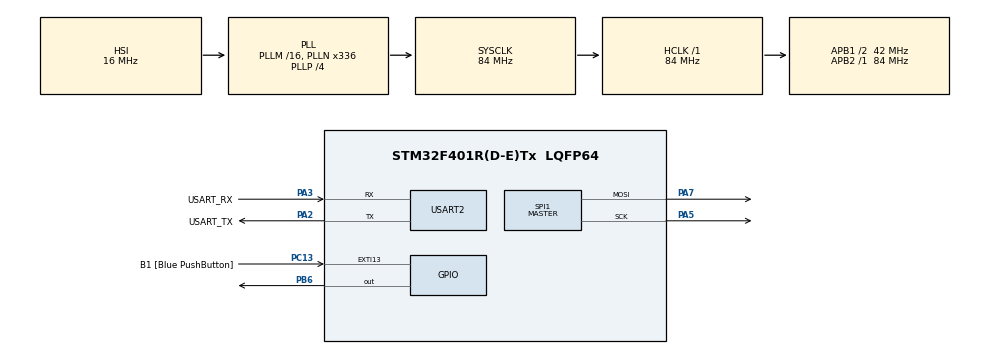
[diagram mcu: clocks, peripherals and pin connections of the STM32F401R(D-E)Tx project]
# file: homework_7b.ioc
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Dma.Request0=SPI1_TX
Dma.SPI1_TX.0.Direction=DMA_MEMORY_TO_PERIPH
Dma.SPI1_TX.0.FIFOMode=DMA_FIFOMODE_DISABLE
Dma.SPI1_TX.0.Instance=DMA2_Stream3
Dma.SPI1_TX.0.MemDataAlignment=DMA_MDATAALIGN_BYTE
Dma.SPI1_TX.0.MemInc=DMA_MINC_ENABLE
Dma.SPI1_TX.0.Mode=DMA_NORMAL
Dma.SPI1_TX.0.PeriphDataAlignment=DMA_PDATAALIGN_BYTE
Dma.SPI1_TX.0.PeriphInc=DMA_PINC_DISABLE
Dma.SPI1_TX.0.Priority=DMA_PRIORITY_LOW
Mcu.Family=STM32F4
Mcu.Name=STM32F401R(D-E)Tx
Mcu.Package=LQFP64
NVIC.DMA2_Stream3_IRQn=true\:0\:0\:false\:false\:true\:false\:true\:true
NVIC.PriorityGroup=NVIC_PRIORITYGROUP_0
NVIC.TIM2_IRQn=true\:0\:0\:false\:false\:true\:true\:true\:true
PA13.GPIO_Label=TMS
PA13.Mode=Serial_Wire
PA13.Signal=SYS_JTMS-SWDIO
PA14.GPIO_Label=TCK
PA14.Mode=Serial_Wire
PA14.Signal=SYS_JTCK-SWCLK
PA2.GPIO_Label=USART_TX
PA2.GPIO_Mode=GPIO_MODE_AF_PP
PA2.GPIO_PuPd=GPIO_NOPULL
PA2.GPIO_Speed=GPIO_SPEED_FREQ_LOW
PA2.Mode=Asynchronous
PA2.Signal=USART2_TX
PA3.GPIO_Label=USART_RX
PA3.GPIO_Mode=GPIO_MODE_AF_PP
PA3.GPIO_PuPd=GPIO_NOPULL
PA3.GPIO_Speed=GPIO_SPEED_FREQ_LOW
PA3.Mode=Asynchronous
PA3.Signal=USART2_RX
PA5.Mode=TX_Only_Simplex_Unidirect_Master
PA5.Signal=SPI1_SCK
PA7.Mode=TX_Only_Simplex_Unidirect_Master
PA7.Signal=SPI1_MOSI
PB3.GPIO_Label=SWO
PB3.Signal=SYS_JTDO-SWO
PB6.Signal=GPIO_Output
PC13-ANTI_TAMP.GPIO_Label=B1 [Blue PushButton]
PC13-ANTI_TAMP.GPIO_ModeDefaultEXTI=GPIO_MODE_IT_FALLING
PC13-ANTI_TAMP.GPIO_PuPd=GPIO_NOPULL
PC13-ANTI_TAMP.Signal=GPXTI13
PC14-OSC32_IN.Mode=LSE-External-Oscillator
PC14-OSC32_IN.Signal=RCC_OSC32_IN
PC15-OSC32_OUT.Mode=LSE-External-Oscillator
PC15-OSC32_OUT.Signal=RCC_OSC32_OUT
PH0\ -\ OSC_IN.Mode=HSE-External-Clock-Source
PH0\ -\ OSC_IN.Signal=RCC_OSC_IN
PH1\ -\ OSC_OUT.Mode=HSE-External-Clock-Source
PH1\ -\ OSC_OUT.Signal=RCC_OSC_OUT
ProjectManager.HeapSize=0x200
ProjectManager.StackSize=0x400
ProjectManager.TargetToolchain=STM32CubeIDE
RCC.48MHZClocksFreq_Value=48000000
RCC.AHBFreq_Value=84000000
RCC.APB1CLKDivider=RCC_HCLK_DIV2
RCC.APB1Freq_Value=42000000
RCC.APB1TimFreq_Value=84000000
RCC.APB2Freq_Value=84000000
RCC.APB2TimFreq_Value=84000000
RCC.CortexFreq_Value=84000000
RCC.HCLKFreq_Value=84000000
RCC.HSE_VALUE=8000000
RCC.HSI_VALUE=16000000
RCC.PLLN=336
RCC.PLLP=RCC_PLLP_DIV4
RCC.PLLQ=7
RCC.SYSCLKFreq_VALUE=84000000
RCC.SYSCLKSource=RCC_SYSCLKSOURCE_PLLCLK
RCC.VCOOutputFreq_Value=336000000
SPI1.BaudRatePrescaler=SPI_BAUDRATEPRESCALER_4
SPI1.Direction=SPI_DIRECTION_2LINES
SPI1.Mode=SPI_MODE_MASTER
SPI1.VirtualType=VM_MASTER
TIM2.Period=39
TIM2.Prescaler=8399
USART2.VirtualMode=VM_ASYNC
VP_TIM2_VS_ClockSourceINT.Mode=Internal
board=NUCLEO-F401RE

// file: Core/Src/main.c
/* USER CODE BEGIN Header */
/**
  ******************************************************************************
  * @file           : main.c
  * @brief          : Main program body
  ******************************************************************************
  * @attention
  *
  * Copyright (c) 2023 STMicroelectronics.
  * All rights reserved.
  *
  * This software is licensed under terms that can be found in the LICENSE file
  * in the root directory of this software component.
  * If no LICENSE file comes with this software, it is provided AS-IS.
  *
  ******************************************************************************
  */
/* USER CODE END Header */
#include "main.h"

SPI_HandleTypeDef hspi1;
DMA_HandleTypeDef hdma_spi1_tx;

TIM_HandleTypeDef htim2;

UART_HandleTypeDef huart2;

/* USER CODE BEGIN PV */
int column_index = 0;
int switch_flag = 0;
int switch_val = 250; //250*4ms = 1s, so every one second we will switch letter
int switch_counter = 0; //when it becomes equal to switch_val we switch letter

uint8_t matrixA[5][2]= {
		{31, 16},
		{36, 8},
		{68, 4},
		{36, 2},
		{31, 1}
	};

uint8_t matrixB[5][2]= {
		{127, 16},
		{81, 8},
		{81, 4},
		{81, 2},
		{46, 1}
	};
/* USER CODE END PV */

void SystemClock_Config(void);
static void MX_GPIO_Init(void);
static void MX_DMA_Init(void);
static void MX_USART2_UART_Init(void);
static void MX_SPI1_Init(void);
static void MX_TIM2_Init(void);

int main(void)
{

  /* MCU Configuration--------------------------------------------------------*/

  /* Reset of all peripherals, Initializes the Flash interface and the Systick. */
  HAL_Init();

  /* Configure the system clock */
  SystemClock_Config();

  /* Initialize all configured peripherals */
  MX_GPIO_Init();
  MX_DMA_Init();
  MX_USART2_UART_Init();
  MX_SPI1_Init();
  MX_TIM2_Init();
  /* USER CODE BEGIN 2 */
  HAL_TIM_Base_Start_IT(&htim2);
  /* USER CODE END 2 */

  /* Infinite loop */
  while (1)
  {

  }
}

void SystemClock_Config(void)
{
  RCC_OscInitTypeDef RCC_OscInitStruct = {0};
  RCC_ClkInitTypeDef RCC_ClkInitStruct = {0};

  /** Configure the main internal regulator output voltage
  */
  __HAL_RCC_PWR_CLK_ENABLE();
  __HAL_PWR_VOLTAGESCALING_CONFIG(PWR_REGULATOR_VOLTAGE_SCALE2);

  /** Initializes the RCC Oscillators according to the specified parameters
  * in the RCC_OscInitTypeDef structure.
  */
  RCC_OscInitStruct.OscillatorType = RCC_OSCILLATORTYPE_HSI;
  RCC_OscInitStruct.HSIState = RCC_HSI_ON;
  RCC_OscInitStruct.HSICalibrationValue = RCC_HSICALIBRATION_DEFAULT;
  RCC_OscInitStruct.PLL.PLLState = RCC_PLL_ON;
  RCC_OscInitStruct.PLL.PLLSource = RCC_PLLSOURCE_HSI;
  RCC_OscInitStruct.PLL.PLLM = 16;
  RCC_OscInitStruct.PLL.PLLN = 336;
  RCC_OscInitStruct.PLL.PLLP = RCC_PLLP_DIV4;
  RCC_OscInitStruct.PLL.PLLQ = 7;
  if (HAL_RCC_OscConfig(&RCC_OscInitStruct) != HAL_OK)
  {
    Error_Handler();
  }

  /** Initializes the CPU, AHB and APB buses clocks
  */
  RCC_ClkInitStruct.ClockType = RCC_CLOCKTYPE_HCLK|RCC_CLOCKTYPE_SYSCLK
                              |RCC_CLOCKTYPE_PCLK1|RCC_CLOCKTYPE_PCLK2;
  RCC_ClkInitStruct.SYSCLKSource = RCC_SYSCLKSOURCE_PLLCLK;
  RCC_ClkInitStruct.AHBCLKDivider = RCC_SYSCLK_DIV1;
  RCC_ClkInitStruct.APB1CLKDivider = RCC_HCLK_DIV2;
  RCC_ClkInitStruct.APB2CLKDivider = RCC_HCLK_DIV1;

  if (HAL_RCC_ClockConfig(&RCC_ClkInitStruct, FLASH_LATENCY_2) != HAL_OK)
  {
    Error_Handler();
  }
}

static void MX_SPI1_Init(void)
{

  /* SPI1 parameter configuration*/
  hspi1.Instance = SPI1;
  hspi1.Init.Mode = SPI_MODE_MASTER;
  hspi1.Init.Direction = SPI_DIRECTION_2LINES;
  hspi1.Init.DataSize = SPI_DATASIZE_8BIT;
  hspi1.Init.CLKPolarity = SPI_POLARITY_LOW;
  hspi1.Init.CLKPhase = SPI_PHASE_1EDGE;
  hspi1.Init.NSS = SPI_NSS_SOFT;
  hspi1.Init.BaudRatePrescaler = SPI_BAUDRATEPRESCALER_4;
  hspi1.Init.FirstBit = SPI_FIRSTBIT_MSB;
  hspi1.Init.TIMode = SPI_TIMODE_DISABLE;
  hspi1.Init.CRCCalculation = SPI_CRCCALCULATION_DISABLE;
  hspi1.Init.CRCPolynomial = 10;
  if (HAL_SPI_Init(&hspi1) != HAL_OK)
  {
    Error_Handler();
  }

}

static void MX_TIM2_Init(void)
{

  TIM_ClockConfigTypeDef sClockSourceConfig = {0};
  TIM_MasterConfigTypeDef sMasterConfig = {0};

  htim2.Instance = TIM2;
  htim2.Init.Prescaler = 8399;
  htim2.Init.CounterMode = TIM_COUNTERMODE_UP;
  htim2.Init.Period = 39;
  htim2.Init.ClockDivision = TIM_CLOCKDIVISION_DIV1;
  htim2.Init.AutoReloadPreload = TIM_AUTORELOAD_PRELOAD_DISABLE;
  if (HAL_TIM_Base_Init(&htim2) != HAL_OK)
  {
    Error_Handler();
  }
  sClockSourceConfig.ClockSource = TIM_CLOCKSOURCE_INTERNAL;
  if (HAL_TIM_ConfigClockSource(&htim2, &sClockSourceConfig) != HAL_OK)
  {
    Error_Handler();
  }
  sMasterConfig.MasterOutputTrigger = TIM_TRGO_RESET;
  sMasterConfig.MasterSlaveMode = TIM_MASTERSLAVEMODE_DISABLE;
  if (HAL_TIMEx_MasterConfigSynchronization(&htim2, &sMasterConfig) != HAL_OK)
  {
    Error_Handler();
  }

}

static void MX_USART2_UART_Init(void)
{

  huart2.Instance = USART2;
  huart2.Init.BaudRate = 115200;
  huart2.Init.WordLength = UART_WORDLENGTH_8B;
  huart2.Init.StopBits = UART_STOPBITS_1;
  huart2.Init.Parity = UART_PARITY_NONE;
  huart2.Init.Mode = UART_MODE_TX_RX;
  huart2.Init.HwFlowCtl = UART_HWCONTROL_NONE;
  huart2.Init.OverSampling = UART_OVERSAMPLING_16;
  if (HAL_UART_Init(&huart2) != HAL_OK)
  {
    Error_Handler();
  }

}

static void MX_DMA_Init(void)
{

  /* DMA controller clock enable */
  __HAL_RCC_DMA2_CLK_ENABLE();

  /* DMA interrupt init */
  /* DMA2_Stream3_IRQn interrupt configuration */
  HAL_NVIC_SetPriority(DMA2_Stream3_IRQn, 0, 0);
  HAL_NVIC_EnableIRQ(DMA2_Stream3_IRQn);

}

static void MX_GPIO_Init(void)
{
  GPIO_InitTypeDef GPIO_InitStruct = {0};

  /* GPIO Ports Clock Enable */
  __HAL_RCC_GPIOC_CLK_ENABLE();
  __HAL_RCC_GPIOH_CLK_ENABLE();
  __HAL_RCC_GPIOA_CLK_ENABLE();
  __HAL_RCC_GPIOB_CLK_ENABLE();

  /*Configure GPIO pin Output Level */
  HAL_GPIO_WritePin(GPIOB, GPIO_PIN_6, GPIO_PIN_RESET);

  /*Configure GPIO pin : B1_Pin */
  GPIO_InitStruct.Pin = B1_Pin;
  GPIO_InitStruct.Mode = GPIO_MODE_IT_FALLING;
  GPIO_InitStruct.Pull = GPIO_NOPULL;
  HAL_GPIO_Init(B1_GPIO_Port, &GPIO_InitStruct);

  /*Configure GPIO pin : PB6 */
  GPIO_InitStruct.Pin = GPIO_PIN_6;
  GPIO_InitStruct.Mode = GPIO_MODE_OUTPUT_PP;
  GPIO_InitStruct.Pull = GPIO_NOPULL;
  GPIO_InitStruct.Speed = GPIO_SPEED_FREQ_LOW;
  HAL_GPIO_Init(GPIOB, &GPIO_InitStruct);

}

/* USER CODE BEGIN 4 */
// When the SPI transmitted the data (in the PeriodElaspsedCallback),
// we write the data. This was needed because the Transmit_DMA works in
// non-blocking mode: the data was being sent before the transmission was over.
// This callback ensures that the data had been finished being transmitted.
void HAL_SPI_TxCpltCallback (SPI_HandleTypeDef * hspi){
	HAL_GPIO_WritePin(GPIOB, GPIO_PIN_6, GPIO_PIN_SET);
	if (++column_index > 4)
		column_index = 0;
	HAL_GPIO_WritePin(GPIOB, GPIO_PIN_6, GPIO_PIN_RESET);
}

// Here we transmit the data and regulate the switch counter
void HAL_TIM_PeriodElapsedCallback(TIM_HandleTypeDef *htim){
	if (htim == &htim2){
		if(switch_flag == 0){
			//write A
			HAL_SPI_Transmit_DMA(&hspi1, matrixA[column_index], 2);

			// increment value
			switch_counter ++;
			// check limits
			if (switch_counter == switch_val){
				switch_flag = 1;
				switch_counter = 0;
			}
		} else {
			//write B
			HAL_SPI_Transmit_DMA(&hspi1, matrixB[column_index], 2);

			// increment value
			switch_counter ++;
			// check limits
			if (switch_counter == switch_val){
				switch_flag = 0;
				switch_counter = 0;
			}
		}
	}
}
/* USER CODE END 4 */

void Error_Handler(void)
{
  __disable_irq();
  while (1)
  {
  }
}
